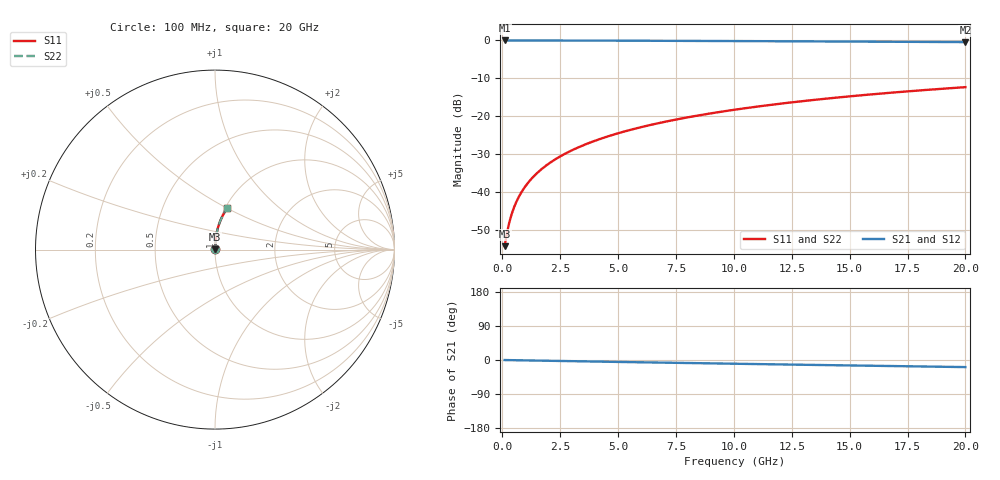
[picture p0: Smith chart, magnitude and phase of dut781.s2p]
! Touchstone file exported from HFSS 2024.1.0
!  File:  C:/UserFiles/LocalFiles/RDL_TSV_Batchsim/temp_RDL_bottom_781_1779861075.aedt
!  Generated:  01:53:55 PM May 27, 2026
!  Design:  RDL_bottom
!  Project:  temp_RDL_bottom_781_1779861075
!  Setup:  Setup1
!  Solution:  Sweep
! Variables:
!  dtsv = 10.80580581um
!  hbump = 3um
!  htsv = 56.27um
!  ldown = 194.5um
!  lrdl = 100um
!  p = 40
!  p1 = 54.93um
!  rhole = 1um
!  t = 450um
!  tdown = 3.37um
!  trdl = 3.915915916um
!  wdown = 15.39um
!  wrdl = 20um
# GHz S MA R 50.000000
! Terminal data exported
! Port[1] = RDL1_T1
! Port[2] = RDL1_T2
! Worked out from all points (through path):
!   200 points, 100 MHz to 20 GHz, reference 50 ohm
!   highest |S21| = -0.01 dB at 100 MHz (marker M1); lowest = -0.4 dB at 20 GHz (marker M2)
!   group delay of S21, straight-line fit = 2.59 ps
!   lowest |S11| = -54.2 dB at 100 MHz (marker M3), VSWR 1.00, Z = 50.2 + j0.123 ohm
!   |S11| at or under -10 dB: start of sweep to end of sweep
!   |S22| runs from -54.2 to -12.3 dB; largest |S21 - S12| = 2.1e-15
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0.1  0.001952 39.1  0.9985 -0.1  0.9985 -0.1  0.001952 39.1
! Gamma 0 0 0 0
! Port Impedance 50 0 50 0
0.2  0.002897 57.8  0.9984 -0.2  0.9984 -0.2  0.002897 57.8
0.3  0.003983 66.6  0.9984 -0.3  0.9984 -0.3  0.003983 66.6
0.4  0.00511 71.4  0.9983 -0.4  0.9983 -0.4  0.00511 71.4
0.5  0.006251 74.5  0.9983 -0.5  0.9983 -0.5  0.006251 74.5
0.6  0.007399 76.7  0.9982 -0.6  0.9982 -0.6  0.007399 76.7
0.8  0.009706 79.5  0.9981 -0.8  0.9981 -0.8  0.009706 79.5
1.1  0.01319 82.0  0.9979 -1.1  0.9979 -1.1  0.01319 82.0
1.5  0.01787 83.7  0.9977 -1.6  0.9977 -1.6  0.01787 83.7
1.8  0.0214 84.5  0.9974 -1.9  0.9974 -1.9  0.0214 84.5
2.1  0.02494 85.0  0.9971 -2.2  0.9971 -2.2  0.02494 85.0
2.7  0.03207 85.6  0.9964 -2.8  0.9964 -2.8  0.03207 85.6
3.5  0.04165 85.9  0.9953 -3.6  0.9953 -3.6  0.04165 85.9
4.2  0.05011 85.9  0.9941 -4.3  0.9941 -4.3  0.05011 85.9
5  0.05985 85.7  0.9925 -5.1  0.9925 -5.1  0.05985 85.7
5.9  0.0709 85.3  0.9906 -6.0  0.9906 -6.0  0.0709 85.3
6.8  0.08202 84.8  0.9886 -6.9  0.9886 -6.9  0.08202 84.8
8.3  0.1007 83.8  0.9849 -8.3  0.9849 -8.3  0.1007 83.8
10.1  0.1231 82.3  0.9802 -10.0  0.9802 -10.0  0.1231 82.3
13.4  0.1639 79.5  0.9708 -12.9  0.9708 -12.9  0.1639 79.5
16.7  0.2038 76.5  0.9607 -15.9  0.9607 -15.9  0.2038 76.5
20  0.2424 73.5  0.9498 -18.7  0.9498 -18.7  0.2424 73.5
